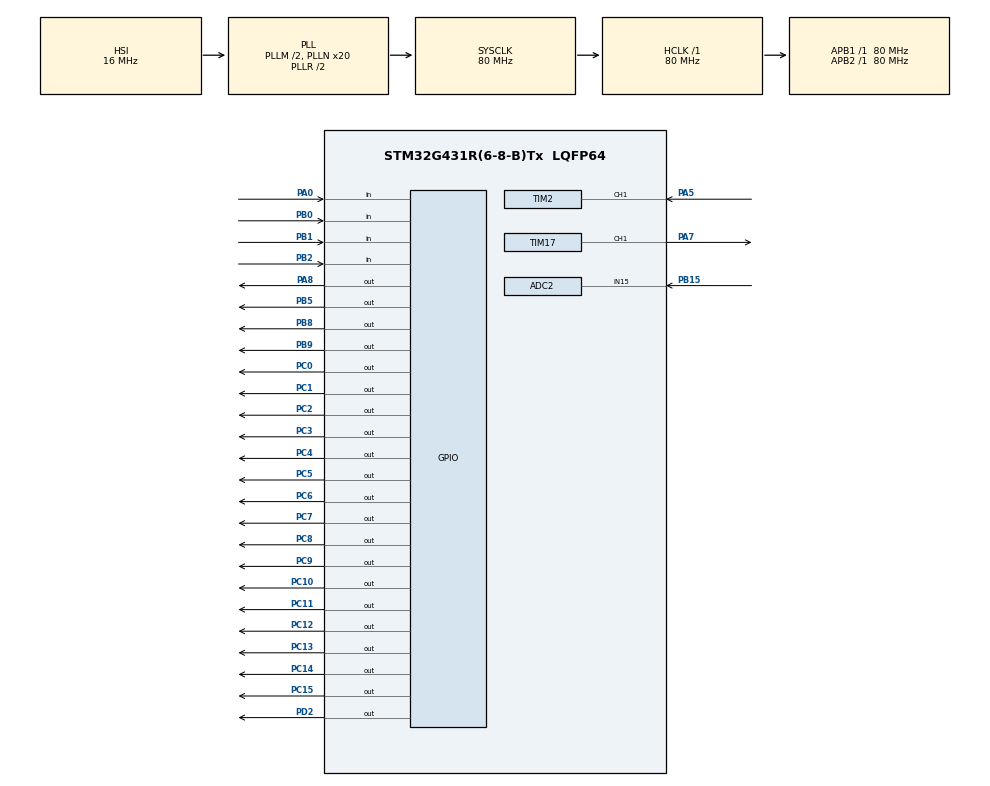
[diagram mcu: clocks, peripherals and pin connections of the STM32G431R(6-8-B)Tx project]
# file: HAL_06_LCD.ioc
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ADC2.Channel-0\#ChannelRegularConversion=ADC_CHANNEL_15
ADC2.NbrOfConversionFlag=1
ADC2.OffsetNumber-0\#ChannelRegularConversion=ADC_OFFSET_NONE
ADC2.Rank-0\#ChannelRegularConversion=1
ADC2.SamplingTime-0\#ChannelRegularConversion=ADC_SAMPLETIME_2CYCLES_5
Mcu.Family=STM32G4
Mcu.Name=STM32G431R(6-8-B)Tx
Mcu.Package=LQFP64
NVIC.PriorityGroup=NVIC_PRIORITYGROUP_4
NVIC.TIM2_IRQn=true\:0\:0\:false\:false\:true\:true\:true\:true
NVIC.TIM3_IRQn=true\:0\:0\:false\:false\:true\:true\:true\:true
PA0.GPIO_Mode=GPIO_MODE_INPUT
PA0.GPIO_PuPd=GPIO_PULLUP
PA0.Signal=GPIO_Input
PA1.Signal=S_TIM2_CH2
PA5.Signal=S_TIM2_CH1
PA7.Signal=S_TIM17_CH1
PA8.Signal=GPIO_Output
PB0.GPIO_Mode=GPIO_MODE_INPUT
PB0.GPIO_PuPd=GPIO_PULLUP
PB0.Signal=GPIO_Input
PB1.GPIO_Mode=GPIO_MODE_INPUT
PB1.GPIO_PuPd=GPIO_PULLUP
PB1.Signal=GPIO_Input
PB15.Mode=IN15-Single-Ended
PB15.Signal=ADC2_IN15
PB2.GPIO_Mode=GPIO_MODE_INPUT
PB2.GPIO_PuPd=GPIO_PULLUP
PB2.Signal=GPIO_Input
PB5.Signal=GPIO_Output
PB8-BOOT0.Signal=GPIO_Output
PB9.Signal=GPIO_Output
PC0.Signal=GPIO_Output
PC1.Signal=GPIO_Output
PC10.Signal=GPIO_Output
PC11.Signal=GPIO_Output
PC12.Signal=GPIO_Output
PC13.Signal=GPIO_Output
PC14-OSC32_IN.Signal=GPIO_Output
PC15-OSC32_OUT.Signal=GPIO_Output
PC2.Signal=GPIO_Output
PC3.Signal=GPIO_Output
PC4.Signal=GPIO_Output
PC5.Signal=GPIO_Output
PC6.Signal=GPIO_Output
PC7.Signal=GPIO_Output
PC8.Signal=GPIO_Output
PC9.Signal=GPIO_Output
PD2.Signal=GPIO_Output
PF0-OSC_IN.Mode=HSE-External-Oscillator
PF0-OSC_IN.Signal=RCC_OSC_IN
PF1-OSC_OUT.Mode=HSE-External-Oscillator
PF1-OSC_OUT.Signal=RCC_OSC_OUT
ProjectManager.HeapSize=0x200
ProjectManager.StackSize=0x400
ProjectManager.TargetToolchain=MDK-ARM V5.27
RCC.ADC12Freq_Value=80000000
RCC.AHBFreq_Value=80000000
RCC.APB1Freq_Value=80000000
RCC.APB1TimFreq_Value=80000000
RCC.APB2Freq_Value=80000000
RCC.APB2TimFreq_Value=80000000
RCC.CortexFreq_Value=80000000
RCC.EXTERNAL_CLOCK_VALUE=12288000
RCC.HCLKFreq_Value=80000000
RCC.HSE_VALUE=24000000
RCC.HSI48_VALUE=48000000
RCC.HSI_VALUE=16000000
RCC.LSE_VALUE=32768
RCC.PLLM=RCC_PLLM_DIV2
RCC.PLLN=20
RCC.SYSCLKFreq_VALUE=80000000
RCC.SYSCLKSource=RCC_SYSCLKSOURCE_PLLCLK
RCC.USBFreq_Value=80000000
RCC.VCOOutputFreq_Value=160000000
SH.S_TIM17_CH1.0=TIM17_CH1,PWM Generation1 CH1
SH.S_TIM2_CH1.0=TIM2_CH1,Input_Capture1_from_TI1
SH.S_TIM2_CH2.0=TIM2_CH2
TIM17.Channel=TIM_CHANNEL_1
TIM17.PeriodNoDither=100-1
TIM17.Prescaler=8000-1
TIM2.Channel-Input_Capture1_from_TI1=TIM_CHANNEL_1
TIM2.Prescaler=80-1
TIM3.PeriodNoDither=10000-1
TIM3.Prescaler=80-1
VP_SYS_VS_DBSignals.Mode=DisableDeadBatterySignals
VP_TIM17_VS_ClockSourceINT.Mode=Enable_Timer
VP_TIM2_VS_ClockSourceINT.Mode=Internal
VP_TIM3_VS_ClockSourceINT.Mode=Internal
board=custom

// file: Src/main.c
/* USER CODE BEGIN Header */
/**
  ******************************************************************************
  * @file           : main.c
  * @brief          : Main program body
  ******************************************************************************
  * @attention
  *
  * <h2><center>&copy; Copyright (c) 2021 STMicroelectronics.
  * All rights reserved.</center></h2>
  *
  * This software component is licensed by ST under BSD 3-Clause license,
  * the "License"; You may not use this file except in compliance with the
  * License. You may obtain a copy of the License at:
  *                        opensource.org/licenses/BSD-3-Clause
  *
  ******************************************************************************
  */
/* USER CODE END Header */
#include "main.h"
#include "adc.h"
#include "tim.h"
#include "gpio.h"

/* USER CODE BEGIN PV */

extern keys key[4];
uint8_t view=0;

uint8_t R_data=1;

extern uint16_t freq;

/* USER CODE END PV */

void SystemClock_Config(void);
/* USER CODE BEGIN PFP */
void disp_proc(void);
void key_proc(void);
void pwm_proc(void);
void led_proc(void);
/* USER CODE END PFP */

int main(void)
{

  /* MCU Configuration--------------------------------------------------------*/

  /* Reset of all peripherals, Initializes the Flash interface and the Systick. */
  HAL_Init();

  /* Configure the system clock */
  SystemClock_Config();

  /* Initialize all configured peripherals */
  MX_GPIO_Init();
  MX_TIM3_Init();
  MX_ADC2_Init();
  MX_TIM2_Init();
  MX_TIM17_Init();
  /* USER CODE BEGIN 2 */

	LCD_Init();
	HAL_TIM_Base_Start_IT(&htim3);
	HAL_TIM_IC_Start_IT(&htim2,TIM_CHANNEL_2);
	HAL_TIM_PWM_Start(&htim17,TIM_CHANNEL_1);
	__HAL_TIM_SetCompare(&htim17,TIM_CHANNEL_1,(int)((get_adc(&hadc2)/3.3)*100)*1);

  /* USER CODE END 2 */

  /* Infinite loop */
  /* USER CODE BEGIN WHILE */

	LCD_Clear(Black);
	LCD_SetBackColor(Black);
	LCD_SetTextColor(White);

  while (1)
  {
    /* USER CODE END WHILE */

    /* USER CODE BEGIN 3 */
		disp_proc();
	  key_proc();
	  pwm_proc();
		led_proc();
  }
  /* USER CODE END 3 */
}

void SystemClock_Config(void)
{
  RCC_OscInitTypeDef RCC_OscInitStruct = {0};
  RCC_ClkInitTypeDef RCC_ClkInitStruct = {0};

  /** Configure the main internal regulator output voltage
  */
  HAL_PWREx_ControlVoltageScaling(PWR_REGULATOR_VOLTAGE_SCALE1);

  /** Initializes the RCC Oscillators according to the specified parameters
  * in the RCC_OscInitTypeDef structure.
  */
  RCC_OscInitStruct.OscillatorType = RCC_OSCILLATORTYPE_HSI;
  RCC_OscInitStruct.HSIState = RCC_HSI_ON;
  RCC_OscInitStruct.HSICalibrationValue = RCC_HSICALIBRATION_DEFAULT;
  RCC_OscInitStruct.PLL.PLLState = RCC_PLL_ON;
  RCC_OscInitStruct.PLL.PLLSource = RCC_PLLSOURCE_HSI;
  RCC_OscInitStruct.PLL.PLLM = RCC_PLLM_DIV2;
  RCC_OscInitStruct.PLL.PLLN = 20;
  RCC_OscInitStruct.PLL.PLLP = RCC_PLLP_DIV2;
  RCC_OscInitStruct.PLL.PLLQ = RCC_PLLQ_DIV2;
  RCC_OscInitStruct.PLL.PLLR = RCC_PLLR_DIV2;
  if (HAL_RCC_OscConfig(&RCC_OscInitStruct) != HAL_OK)
  {
    Error_Handler();
  }

  /** Initializes the CPU, AHB and APB buses clocks
  */
  RCC_ClkInitStruct.ClockType = RCC_CLOCKTYPE_HCLK|RCC_CLOCKTYPE_SYSCLK
                              |RCC_CLOCKTYPE_PCLK1|RCC_CLOCKTYPE_PCLK2;
  RCC_ClkInitStruct.SYSCLKSource = RCC_SYSCLKSOURCE_PLLCLK;
  RCC_ClkInitStruct.AHBCLKDivider = RCC_SYSCLK_DIV1;
  RCC_ClkInitStruct.APB1CLKDivider = RCC_HCLK_DIV1;
  RCC_ClkInitStruct.APB2CLKDivider = RCC_HCLK_DIV1;

  if (HAL_RCC_ClockConfig(&RCC_ClkInitStruct, FLASH_LATENCY_2) != HAL_OK)
  {
    Error_Handler();
  }
}

/* USER CODE BEGIN 4 */
void disp_proc()
{
	if(view==0)
	{
		char text[20];
		sprintf(text,"       Data      ");
		LCD_DisplayStringLine(Line1, (uint8_t *)text);
		sprintf(text,"   FRQ:%dHz          ",freq);
		LCD_DisplayStringLine(Line3, (uint8_t *)text);
		sprintf(text,"   R37:%.2fV          ",get_adc(&hadc2));
		LCD_DisplayStringLine(Line5, (uint8_t *)text);

	}
	if(view==1)
	{
		char text[20];
		sprintf(text,"       Para      ");
		LCD_DisplayStringLine(Line1, (uint8_t *)text);
		sprintf(text,"      R:%d         ",(R_data*2));
		LCD_DisplayStringLine(Line3, (uint8_t *)text);
		sprintf(text,"                 ");
		LCD_DisplayStringLine(Line5, (uint8_t *)text);
	}
}

void key_proc()
{
	if(key[0].key_single==1)
	{
		view=!view;
		key[0].key_single=0;
	}
	if(key[1].key_single==1)
	{
		if(view==1)
		{
			if(++R_data>5)
				R_data=5;
		}
		key[1].key_single=0;
	}
	if(key[2].key_single==1)
	{
		if(view==1)
		{
			if(--R_data<1)
				R_data=1;
		}
		key[2].key_single=0;
	}
	if(key[3].key_single==1)
	{

		key[3].key_single=0;
	}
}

void pwm_proc()
{
	__HAL_TIM_SetCompare(&htim17,TIM_CHANNEL_1,(int)((get_adc(&hadc2)/3.3)*100)*1);
	__HAL_TIM_SetClockDivision(&htim17,(80000000/(freq/R_data)));
}

void led_proc()
{
	led_init();
	if(view==0)
	{
		LD1_on();
		LD2_off();
	}
	else
	{
		LD2_on();
		LD1_off();
	}
	if((get_adc(&hadc2)<1.0)||(get_adc(&hadc2)>=3.0))
		LD3_on();
	else
		LD3_off();
	if((freq<1000)||(freq>=5000))
		LD4_on();
	else
		LD4_off();
}

/* USER CODE END 4 */

void Error_Handler(void)
{
}
